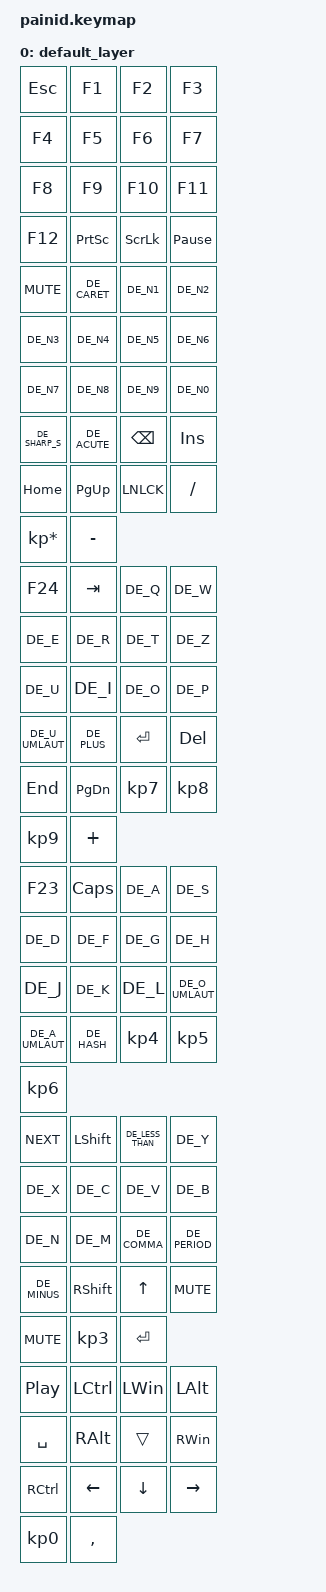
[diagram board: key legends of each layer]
#include <behaviors.dtsi>
#include <dt-bindings/zmk/keys.h>
#include "keys_de.h"

/ {
    keymap {
        compatible = "zmk,keymap";
        default_layer {
            bindings = <
                /* Row 1 - Fn: Esc F1 F2 F3 F4 F5 F6 F7 F8 F9 F10 F11 F12 PrtSc ScrLk Pause */
                &kp ESC         &kp F1           &kp F2           &kp F3
                &kp F4          &kp F5           &kp F6           &kp F7
                &kp F8          &kp F9           &kp F10          &kp F11
                &kp F12         &kp PSCRN        &kp SLCK         &kp PAUSE_BREAK

                /* Row 2 - Num: Enc2(C_MUTE) ^ 1 2 3 4 5 6 7 8 9 0 ss acu Bspc Ins Home PgUp NumLk / * Num- */
                &kp C_MUTE      &kp DE_CARET     &kp DE_N1        &kp DE_N2
                &kp DE_N3       &kp DE_N4        &kp DE_N5        &kp DE_N6
                &kp DE_N7       &kp DE_N8        &kp DE_N9        &kp DE_N0
                &kp DE_SHARP_S  &kp DE_ACUTE     &kp BSPC         &kp INS
                &kp HOME        &kp PAGE_UP      &kp LNLCK        &kp SLASH
                &kp KP_MULTIPLY &kp MINUS

                /* Row 3 - QWERTY: Enc3(F24) Tab Q W E R T Z U I O P Ü + Enter Del End PgDn Num7 Num8 Num9 Num+ */
                &kp F24         &kp TAB          &kp DE_Q         &kp DE_W
                &kp DE_E        &kp DE_R         &kp DE_T         &kp DE_Z
                &kp DE_U        &kp DE_I         &kp DE_O         &kp DE_P
                &kp DE_U_UMLAUT &kp DE_PLUS      &kp ENTER        &kp DEL
                &kp END         &kp PG_DN        &kp KP_NUMBER_7  &kp KP_NUMBER_8
                &kp KP_NUMBER_9 &kp PLUS

                /* Row 4 - Home: Enc4(F23) Caps A S D F G H J K L Ö Ä # Num4 Num5 Num6 */
                &kp F23         &kp CAPSLOCK     &kp DE_A         &kp DE_S
                &kp DE_D        &kp DE_F         &kp DE_G         &kp DE_H
                &kp DE_J        &kp DE_K         &kp DE_L         &kp DE_O_UMLAUT
                &kp DE_A_UMLAUT &kp DE_HASH      &kp KP_NUMBER_4  &kp KP_NUMBER_5
                &kp KP_NUMBER_6

                /* Row 5 - Shift: Enc5(C_NEXT) LShift < Y X C V B N M , . - RShift Up EncBtn EncBtn Num3 NumEnter */
                &kp C_NEXT      &kp LSHIFT       &kp DE_LESS_THAN &kp DE_Y
                &kp DE_X        &kp DE_C         &kp DE_V         &kp DE_B
                &kp DE_N        &kp DE_M         &kp DE_COMMA     &kp DE_PERIOD
                &kp DE_MINUS    &kp RSHIFT       &kp UP           &kp C_MUTE
                &kp C_MUTE      &kp KP_NUMBER_3  &kp ENTER

                /* Row 6 - Bottom: Enc6(C_PLAY_PAUSE) LCtrl LWin LAlt Space RAlt RWin Menu RCtrl Left Down Right Num0 Num. */
                &kp C_PLAY_PAUSE &kp LCTRL       &kp LWIN         &kp LALT
                &kp SPACE       &kp RALT         &trans           &kp RWIN
                &kp RCTRL       &kp LEFT         &kp DOWN         &kp RIGHT
                &kp KP_NUMBER_0 &kp COMMA
            >;
        };
    };
};
